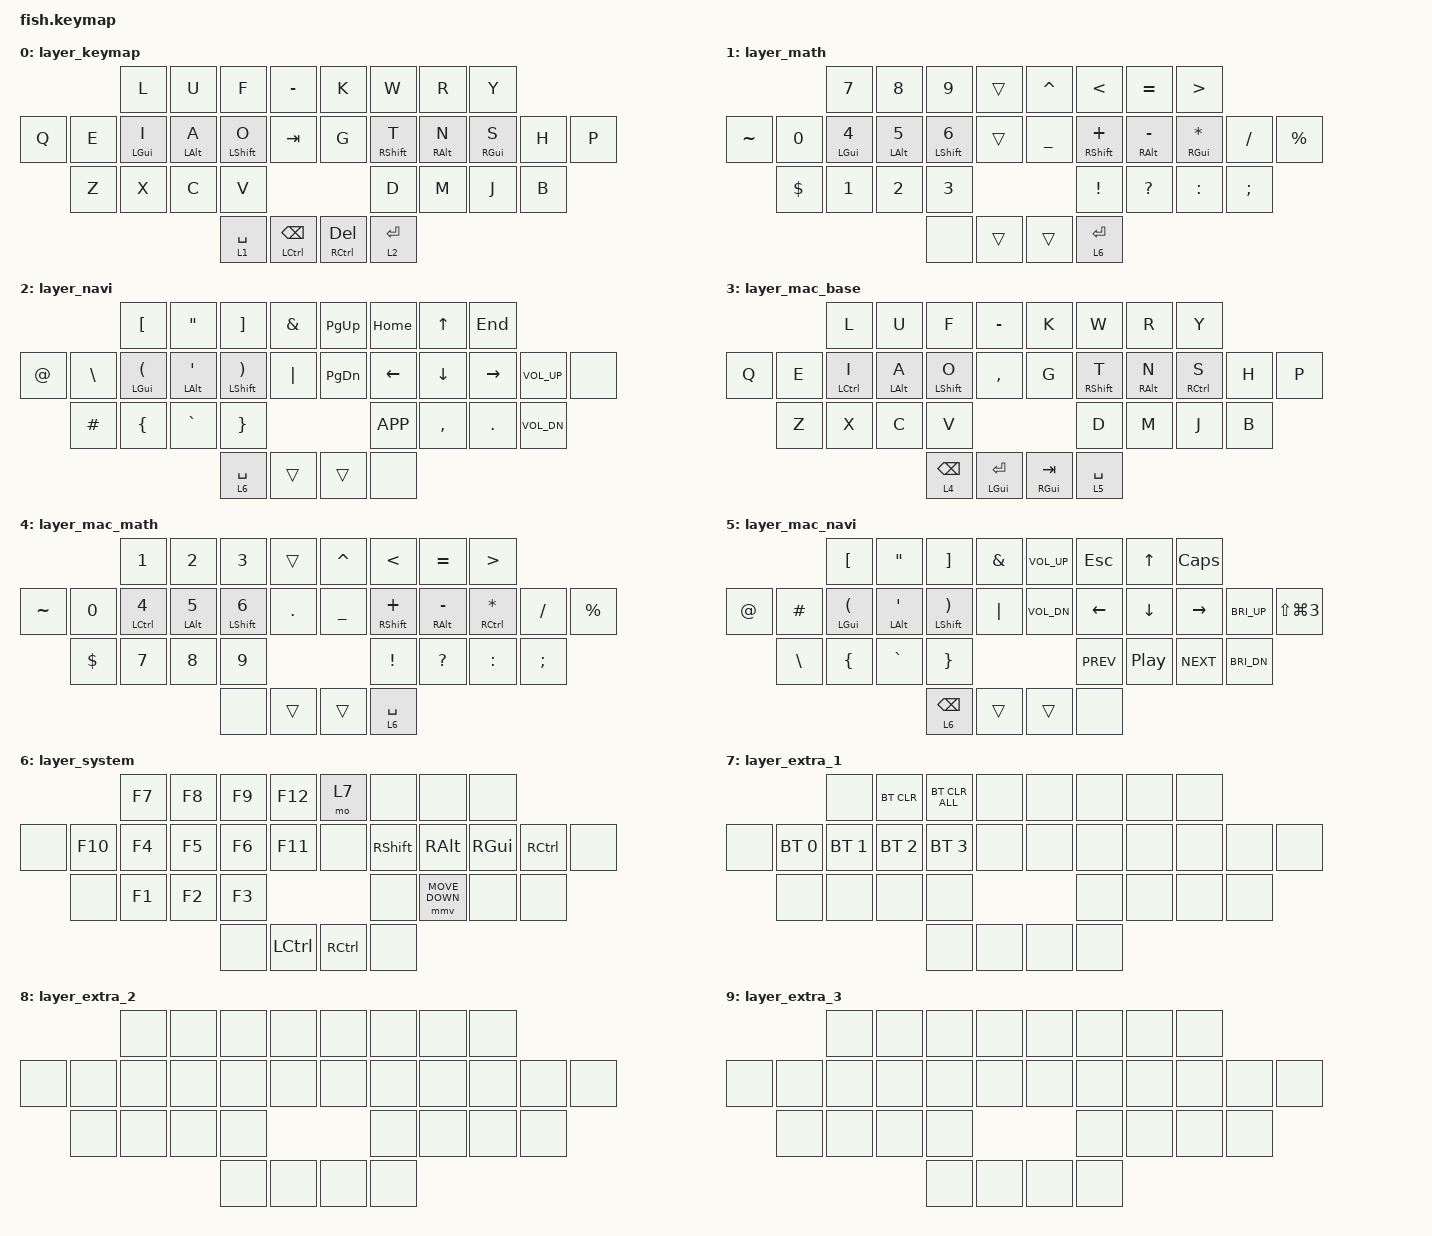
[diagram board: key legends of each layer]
// キーマップを更新する方法は https://o24.works/fish/guide を参照
// 視覚的に編集するには https://o24.works/fish/editor を参照


// 定義を呼んでくる
#include <behaviors.dtsi>
#include <dt-bindings/zmk/keys.h>
#include <dt-bindings/zmk/mouse.h>
#include <dt-bindings/zmk/bt.h>
#include <dt-bindings/zmk/outputs.h>
#include <dt-bindings/zmk/pointing.h>


// 特殊入力の挙動を調整できる

&mt {
    flavor = "tap-preferred";
    tapping-term-ms = <225>;
    quick-tap-ms = <200>;
    require-prior-idle-ms = <150>;
};

&lt {
    flavor = "balanced";
    tapping-term-ms = <175>;
    quick-tap-ms = <200>;
};

&sk {
};

&sl {
};

&caps_word {
};

&key_repeat {
};


/ {
    // 独自の入力を定義できる（上級者向け）

    behaviors {
    };

    macros {
    };

    conditional_layers {
    };


    // 複数キーの同時押しに特別の入力を設定できる
    // キー番号早見表：
    //       0  1  2  3     4  5  6  7
    // 8  9 10 11 12 13    14 15 16 17 18 19
    //   20 21 22 23          24 25 26 27
    //            28 29    30 31

    combos {
        compatible = "zmk,combos";
        timeout-ms = <100>;
        require-prior-idle-ms = <150>;

        combo_lang2 {
            key-positions = <11 12>;
            bindings = <&kp LANG2>;
        };

        combo_lang1 {
            key-positions = <15 16>;
            bindings = <&kp LANG1>;
        };

        combo_reset_L {
            key-positions = <3 8 13>;
            bindings = <&bootloader>;
        };

        combo_reset_R {
            key-positions = <4 14 19>;
            bindings = <&bootloader>;
        };

        combo_studio_unlock {
            key-positions = <20 21 22 23>;
            bindings = <&studio_unlock>;
        };

        combo_esc {
            key-positions = <8 9>;
            bindings = <&kp ESC>;
        };

        combo_la_f4 {
            key-positions = <18 19>;
            bindings = <&kp LA(F4)>;
        };

        combo_caps_word {
            key-positions = <12 15>;
            bindings = <&caps_word>;
        };
    };
    

    // キーに入力を割り当てる
    // 型（&...）は https://zmk.dev/docs/behaviors/... を参照
    // キーコードは https://zmk.dev/docs/codes/... を参照

    keymap {
        compatible = "zmk,keymap";

        layer_keymap {
            bindings = <
                        &kp L       &kp U       &kp F       &kp MINUS           &kp K       &kp W       &kp R       &kp Y       
&kp Q       &kp E       &mt LGUI I  &mt LALT A  &mt LSHFT O &kp TAB             &kp G       &mt RSHFT T &mt RALT N  &mt RGUI S  &kp H       &kp P       
            &kp Z       &kp X       &kp C       &kp V                                       &kp D       &kp M       &kp J       &kp B       
                                                &lt 1 SPACE &mt LCTRL BSPC      &mt RCTRL DEL &lt 2 RET 
            >;
        };

        layer_math {
            bindings = <
                        &kp N7      &kp N8      &kp N9      &trans              &kp CARET   &kp LT      &kp EQUAL   &kp GT      
&kp TILDE   &kp N0      &mt LGUI N4 &mt LALT N5 &mt LSHFT N6 &trans             &kp UNDER   &mt RSHFT PLUS &mt RALT MINUS &mt RGUI STAR &kp FSLH &kp PRCNT 
            &kp DLLR    &kp N1      &kp N2      &kp N3                                      &kp EXCL    &kp QMARK   &kp COLON   &kp SEMI    
                                                &none       &trans              &trans      &lt 6 RET   
            >;
        };

        layer_navi {
            bindings = <
                        &kp LBKT    &kp DQT     &kp RBKT    &kp AMPS            &kp PG_UP   &kp HOME    &kp UP      &kp END     
&kp AT      &kp BSLH    &mt LGUI LPAR &mt LALT SQT &mt LSHFT RPAR &kp PIPE      &kp PG_DN   &kp LEFT    &kp DOWN    &kp RIGHT   &kp C_VOL_UP &none      
            &kp HASH    &kp LBRC    &kp GRAVE   &kp RBRC                                    &kp K_APP   &kp COMMA   &kp DOT     &kp C_VOL_DN 
                                                &lt 6 SPACE &trans              &trans      &none       
            >;
        };

        layer_mac_base {
            bindings = <
                        &kp L       &kp U       &kp F       &kp MINUS           &kp K       &kp W       &kp R       &kp Y       
&kp Q       &kp E       &mt LCTRL I &mt LALT A  &mt LSHFT O &kp COMMA           &kp G       &mt RSHFT T &mt RALT N  &mt RCTRL S &kp H       &kp P       
            &kp Z       &kp X       &kp C       &kp V                                       &kp D       &kp M       &kp J       &kp B       
                                                &lt 4 BSPC  &mt LGUI RET        &mt RGUI TAB &lt 5 SPACE 
            >;
        };

        layer_mac_math {
            bindings = <
                        &kp N1      &kp N2      &kp N3      &trans              &kp CARET   &kp LT      &kp EQUAL   &kp GT      
&kp TILDE   &kp N0      &mt LCTRL N4 &mt LALT N5 &mt LSHFT N6 &kp DOT           &kp UNDER   &mt RSHFT PLUS &mt RALT MINUS &mt RCTRL STAR &kp FSLH &kp PRCNT 
            &kp DLLR    &kp N7      &kp N8      &kp N9                                      &kp EXCL    &kp QMARK   &kp COLON   &kp SEMI    
                                                &none       &trans              &trans      &lt 6 SPACE 
            >;
        };

        layer_mac_navi {
            bindings = <
                        &kp LBKT    &kp DQT     &kp RBKT    &kp AMPS            &kp C_VOL_UP &kp ESC    &kp UP      &kp CAPS    
&kp AT      &kp HASH    &mt LGUI LPAR &mt LALT SQT &mt LSHFT RPAR &kp PIPE      &kp C_VOL_DN &kp LEFT   &kp DOWN    &kp RIGHT   &kp C_BRI_UP &kp LS(LG(N3)) 
            &kp BSLH    &kp LBRC    &kp GRAVE   &kp RBRC                                    &kp C_PREV  &kp C_PP    &kp C_NEXT  &kp C_BRI_DN 
                                                &lt 6 BSPC  &trans              &trans      &none       
            >;
        };

        layer_system {
            bindings = <
                        &kp F7      &kp F8      &kp F9      &kp F12             &mo 7       &none       &none       &none       
&none       &kp F10     &kp F4      &kp F5      &kp F6      &kp F11             &none       &kp RSHFT   &kp RALT    &kp RGUI    &kp RCTRL   &none       
            &none       &kp F1      &kp F2      &kp F3                                      &none       &mmv MOVE_DOWN  &none       &none       
                                                &none       &kp LCTRL           &kp RCTRL   &none       
            >;
        };

        layer_extra_1 {
            bindings = <
                        &none       &bt BT_CLR  &bt BT_CLR_ALL &none            &none       &none       &none       &none       
&none       &bt BT_SEL 0 &bt BT_SEL 1 &bt BT_SEL 2 &bt BT_SEL 3 &none           &none       &none       &none       &none       &none       &none       
            &none       &none       &none       &none                                       &none       &none       &none       &none       
                                                &none       &none               &none       &none       
            >;
        };

        layer_extra_2 {
            bindings = <
                        &none       &none       &none       &none               &none       &none       &none       &none       
&none       &none       &none       &none       &none       &none               &none       &none       &none       &none       &none       &none       
            &none       &none       &none       &none                                       &none       &none       &none       &none       
                                                &none       &none               &none       &none       
            >;
        };

        layer_extra_3 {
            bindings = <
                        &none       &none       &none       &none               &none       &none       &none       &none       
&none       &none       &none       &none       &none       &none               &none       &none       &none       &none       &none       &none       
            &none       &none       &none       &none                                       &none       &none       &none       &none       
                                                &none       &none               &none       &none       
            >;
        };
    };
};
